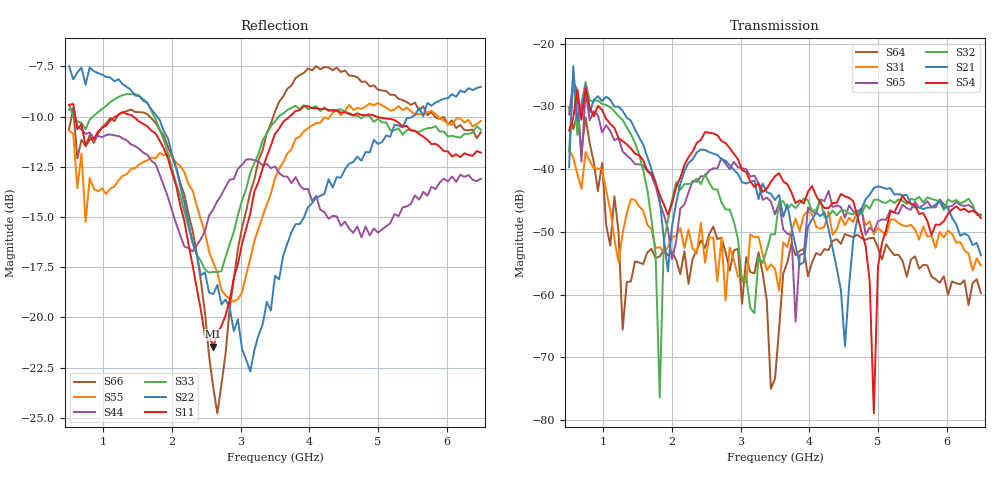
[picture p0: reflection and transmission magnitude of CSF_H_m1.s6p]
!Keysight Technologies,M9804A,MY58100912,A.14.10.03
!Date: Thursday, April 27, 2023 10:28:33
!Correction: S11(C  6-Port  )
!S12(C  6-Port  )
!S13(C  6-Port  )
!S14(C  6-Port  )
!S15(C  6-Port  )
!S16(C  6-Port  )
!S21(C  6-Port  )
!S22(C  6-Port  )
!S23(C  6-Port  )
!S24(C  6-Port  )
!S25(C  6-Port  )
!S26(C  6-Port  )
!S31(C  6-Port  )
!S32(C  6-Port  )
!S33(C  6-Port  )
!S34(C  6-Port  )
!S35(C  6-Port  )
!S36(C  6-Port  )
!S41(C  6-Port  )
!S42(C  6-Port  )
!S43(C  6-Port  )
!S44(C  6-Port  )
!S45(C  6-Port  )
!S46(C  6-Port  )
!S51(C  6-Port  )
!S52(C  6-Port  )
!S53(C  6-Port  )
!S54(C  6-Port  )
!S55(C  6-Port  )
!S56(C  6-Port  )
!S61(C  6-Port  )
!S62(C  6-Port  )
!S63(C  6-Port  )
!S64(C  6-Port  )
!S65(C  6-Port  )
!S66(C  6-Port  )
!S6P File: Measurement: :
# Hz S  RI  R 50
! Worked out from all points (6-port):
!   101 points, 500 MHz to 6.5 GHz, reference 50 ohm
!   strongest paths, dB at 500 MHz, 2 GHz, 3.5 GHz, 5 GHz, 6.5 GHz:
!     S54: -33.9, -45.4, -41.1, -55.6, -47.8
!     S21: -39.7, -49.0, -44.9, -42.7, -53.7
!     S32: -37.1, -44.9, -50.4, -44.8, -47.2
!     S65: -31.2, -54.4, -47.2, -48.3, -47.3
!     S31: -36.9, -50.8, -55.9, -49.3, -55.4
!     S64: -30.2, -53.2, -73.4, -52.5, -59.7
!   lowest |S11| = -21.4 dB at 2.6 GHz (marker M1), VSWR 1.18, Z = 42.5 + j2.17 ohm
!   |S11| at or under -10 dB: 590 MHz to 1.176 GHz (585.5 MHz wide, 66.3 % of centre); 1.434 GHz to 3.714 GHz (2.28 GHz wide, 88.6 % of centre); 4.98 GHz to end of sweep
